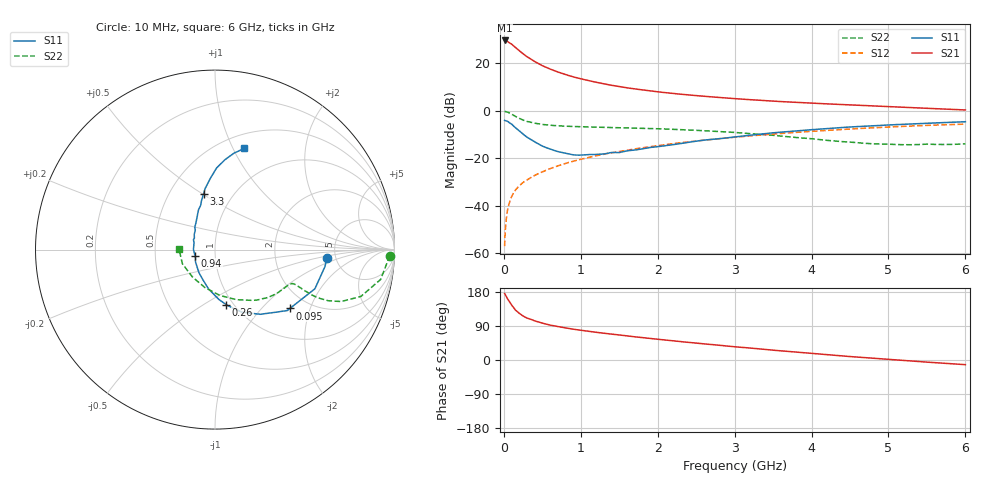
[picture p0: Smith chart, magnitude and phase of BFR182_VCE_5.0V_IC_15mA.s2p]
! Infineon Technologies  Discrete & RF Semiconductors
! BFR182
! VCE =  5.0 V,  IC =  15 mA
! Common Emitter S-Parameters:  Nov 2015
# GHz  S  MA  R  50
!  f  S11  S21  S12  S22
! GHz  MAG  ANG  MAG  ANG  MAG  ANG  MAG  ANG
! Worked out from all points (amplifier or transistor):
!   210 points, 10 MHz to 6 GHz, reference 50 ohm
!   highest |S21| = 29.7 dB at 10 MHz (marker M1)
!   |S21| within 3 dB of that: start of sweep to 152.6 MHz
!   unconditionally stable (mu >= 1): 685.3 MHz to 2.566 GHz
!   at 185 MHz: K = 0.61, MSG = 29.0 dB, |S12| = -32.2 dB
!   at 1.52 GHz: K = 1.04, MAG = 12.3 dB, |S12| = -17.0 dB
!   at 6 GHz: K = 0.90, MSG = 3.0 dB, |S12| = -5.6 dB
!   S11 on the Smith chart (normalised r, x): 10 MHz: 4.24, -0.67; 95 MHz: 1.61, -1.47; 260 MHz: 0.93, -0.63; 940 MHz: 0.80, -0.05; 3.3 GHz: 0.73, +0.51; 6 GHz: 0.64, +1.11
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0.01  0.6262 -4.4  30.38 175.5  0.0014 92.5  0.9744 -2.0
0.02  0.6196 -8.9  29.96 171.6  0.0032 85.3  0.9623 -4.2
0.05  0.5979 -21.4  28.82 160.7  0.0085 81.0  0.9379 -10.2
0.095  0.5309 -38.1  25.73 146.6  0.0147 74.5  0.8615 -17.0
0.1  0.5266 -40.2  25.49 144.8  0.0154 74.1  0.8538 -17.8
0.15  0.4406 -54.9  21.68 131.9  0.0213 71.1  0.7615 -22.3
0.2  0.3802 -66.6  18.52 123.1  0.026 69.7  0.692 -24.3
0.24  0.3327 -74.6  16.39 117.5  0.0299 69.9  0.6481 -24.9
0.26  0.3128 -78.5  15.47 115.0  0.0317 69.9  0.6291 -25.1
0.3  0.2784 -85.6  13.83 110.7  0.0348 69.7  0.5969 -25.1
0.4  0.2221 -99.3  10.93 103.3  0.0434 70.2  0.5476 -24.6
0.5  0.1804 -112.1  8.926 97.0  0.0515 70.7  0.5158 -24.0
0.7  0.1385 -136.7  6.59 88.2  0.0688 71.9  0.4829 -23.5
0.94  0.1165 -163.3  5.001 80.3  0.0899 71.3  0.4646 -24.2
1.02  0.1169 -173.6  4.641 78.0  0.0969 71.0  0.4603 -24.8
1.4  0.1322 155.1  3.445 68.3  0.1303 69.0  0.4437 -28.4
2.02  0.1767 127.9  2.491 54.3  0.1865 64.1  0.4179 -36.5
3.1  0.2926 104.2  1.76 33.3  0.2862 53.6  0.3394 -56.2
3.3  0.3177 101.6  1.675 29.8  0.3047 51.4  0.3205 -61.1
4.1  0.4104 92.5  1.425 15.8  0.3777 42.4  0.2474 -87.3
5.1  0.5113 82.8  1.208 0.3  0.4628 30.2  0.1943 -134.7
6  0.5879 73.8  1.041 -12.3  0.5232 18.1  0.2011 178.6
